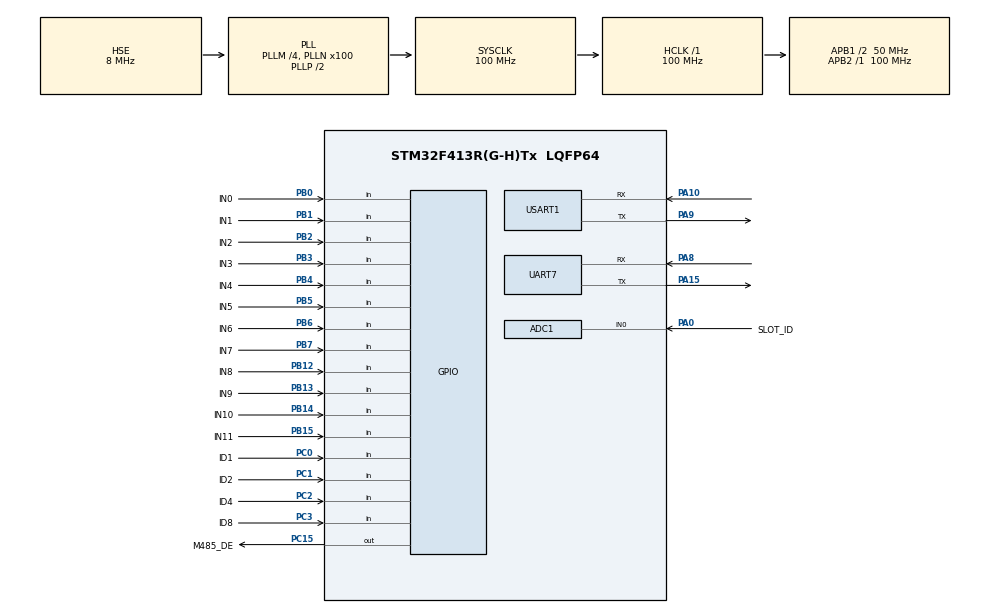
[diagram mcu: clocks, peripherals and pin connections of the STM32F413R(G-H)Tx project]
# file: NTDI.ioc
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ADC1.Channel-0\#ChannelRegularConversion=ADC_CHANNEL_0
ADC1.ClockPrescaler=ADC_CLOCK_SYNC_PCLK_DIV4
ADC1.ContinuousConvMode=DISABLE
ADC1.DMAContinuousRequests=DISABLE
ADC1.DataAlign=ADC_DATAALIGN_RIGHT
ADC1.DiscontinuousConvMode=DISABLE
ADC1.EOCSelection=ADC_EOC_SINGLE_CONV
ADC1.EnableAnalogWatchDog=false
ADC1.ExternalTrigConv=ADC_SOFTWARE_START
ADC1.ExternalTrigConvEdge=ADC_EXTERNALTRIGCONVEDGE_NONE
ADC1.InjNumberOfConversion=0
ADC1.NbrOfConversion=1
ADC1.NbrOfConversionFlag=1
ADC1.Rank-0\#ChannelRegularConversion=1
ADC1.Resolution=ADC_RESOLUTION_12B
ADC1.SamplingTime-0\#ChannelRegularConversion=ADC_SAMPLETIME_3CYCLES
ADC1.ScanConvMode=DISABLE
ADC1.master=1
FREERTOS.Tasks01=mainTask,2,256,StartMainTask,Default,NULL,Dynamic,NULL,NULL;debugTask,-1,128,StartDebugTask,Default,NULL,Dynamic,NULL,NULL;inputTask,0,128,StartInputTask,Default,NULL,Dynamic,NULL,NULL
IWDG.Prescaler=IWDG_PRESCALER_32
IWDG.Reload=1000
Mcu.Family=STM32F4
Mcu.Name=STM32F413R(G-H)Tx
Mcu.Package=LQFP64
NVIC.PriorityGroup=NVIC_PRIORITYGROUP_4
NVIC.TIM1_UP_TIM10_IRQn=true\:9\:0\:true\:false\:true\:true\:true
NVIC.TIM6_DAC_IRQn=true\:0\:0\:false\:false\:true\:false\:false
NVIC.TimeBase=TIM6_DAC_IRQn
NVIC.TimeBaseIP=TIM6
NVIC.UART7_IRQn=true\:5\:0\:false\:false\:true\:true\:true
NVIC.USART1_IRQn=true\:10\:0\:true\:false\:true\:true\:true
PA0.GPIO_Label=SLOT_ID
PA0.Signal=ADCx_IN0
PA10.Mode=Asynchronous
PA10.Signal=USART1_RX
PA13.Mode=Serial_Wire
PA13.Signal=SYS_JTMS-SWDIO
PA14.Mode=Serial_Wire
PA14.Signal=SYS_JTCK-SWCLK
PA15.Mode=Asynchronous
PA15.Signal=UART7_TX
PA8.Mode=Asynchronous
PA8.Signal=UART7_RX
PA9.Mode=Asynchronous
PA9.Signal=USART1_TX
PB0.GPIO_Label=IN0
PB0.GPIO_PuPd=GPIO_PULLUP
PB0.Signal=GPIO_Input
PB1.GPIO_Label=IN1
PB1.GPIO_PuPd=GPIO_PULLUP
PB1.Signal=GPIO_Input
PB12.GPIO_Label=IN8
PB12.GPIO_PuPd=GPIO_PULLUP
PB12.Signal=GPIO_Input
PB13.GPIO_Label=IN9
PB13.GPIO_PuPd=GPIO_PULLUP
PB13.Signal=GPIO_Input
PB14.GPIO_Label=IN10
PB14.GPIO_PuPd=GPIO_PULLUP
PB14.Signal=GPIO_Input
PB15.GPIO_Label=IN11
PB15.GPIO_PuPd=GPIO_PULLUP
PB15.Signal=GPIO_Input
PB2.GPIO_Label=IN2
PB2.GPIO_PuPd=GPIO_PULLUP
PB2.Signal=GPIO_Input
PB3.GPIO_Label=IN3
PB3.GPIO_PuPd=GPIO_PULLUP
PB3.Signal=GPIO_Input
PB4.GPIO_Label=IN4
PB4.GPIO_PuPd=GPIO_PULLUP
PB4.Signal=GPIO_Input
PB5.GPIO_Label=IN5
PB5.GPIO_PuPd=GPIO_PULLUP
PB5.Signal=GPIO_Input
PB6.GPIO_Label=IN6
PB6.GPIO_PuPd=GPIO_PULLUP
PB6.Signal=GPIO_Input
PB7.GPIO_Label=IN7
PB7.GPIO_PuPd=GPIO_PULLUP
PB7.Signal=GPIO_Input
PC0.GPIO_Label=ID1
PC0.GPIO_PuPd=GPIO_PULLUP
PC0.Signal=GPIO_Input
PC1.GPIO_Label=ID2
PC1.GPIO_PuPd=GPIO_PULLUP
PC1.Signal=GPIO_Input
PC15-OSC32_OUT.GPIO_Label=M485_DE
PC15-OSC32_OUT.Signal=GPIO_Output
PC2.GPIO_Label=ID4
PC2.GPIO_PuPd=GPIO_PULLUP
PC2.Signal=GPIO_Input
PC3.GPIO_Label=ID8
PC3.GPIO_PuPd=GPIO_PULLUP
PC3.Signal=GPIO_Input
PH0\ -\ OSC_IN.Mode=HSE-External-Oscillator
PH0\ -\ OSC_IN.Signal=RCC_OSC_IN
PH1\ -\ OSC_OUT.Mode=HSE-External-Oscillator
PH1\ -\ OSC_OUT.Signal=RCC_OSC_OUT
ProjectManager.HeapSize=0x200
ProjectManager.StackSize=0x400
ProjectManager.TargetToolchain=EWARM V8
RCC.AHBFreq_Value=100000000
RCC.APB1CLKDivider=RCC_HCLK_DIV2
RCC.APB1Freq_Value=50000000
RCC.APB1TimFreq_Value=100000000
RCC.APB2Freq_Value=100000000
RCC.APB2TimFreq_Value=100000000
RCC.CortexFreq_Value=100000000
RCC.HCLKFreq_Value=100000000
RCC.HSE_VALUE=8000000
RCC.PLLM=4
RCC.PLLN=100
RCC.PLLSourceVirtual=RCC_PLLSOURCE_HSE
RCC.SYSCLKFreq_VALUE=100000000
RCC.SYSCLKSource=RCC_SYSCLKSOURCE_PLLCLK
RCC.USBFreq_Value=100000000
RCC.VCOOutputFreq_Value=200000000
SH.ADCx_IN0.0=ADC1_IN0,IN0
TIM1.Period=1000
TIM1.Prescaler=100
UART7.VirtualMode=Asynchronous
USART1.VirtualMode=VM_ASYNC
VP_FREERTOS_VS_ENABLE.Mode=Enabled
VP_IWDG_VS_IWDG.Mode=IWDG_Activate
VP_SYS_VS_tim6.Mode=TIM6
VP_TIM1_VS_ClockSourceINT.Mode=Internal
board=custom

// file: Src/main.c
/* USER CODE BEGIN Header */
/**
  ******************************************************************************
  * @file           : main.c
  * @brief          : Main program body
  ******************************************************************************
  * This notice applies to any and all portions of this file
  * that are not between comment pairs USER CODE BEGIN and
  * USER CODE END. Other portions of this file, whether
  * inserted by the user or by software development tools
  * are owned by their respective copyright owners.
  *
  * Copyright (c) 2019 STMicroelectronics International N.V.
  * All rights reserved.
  *
  * Redistribution and use in source and binary forms, with or without
  * modification, are permitted, provided that the following conditions are met:
  *
  * 1. Redistribution of source code must retain the above copyright notice,
  *    this list of conditions and the following disclaimer.
  * 2. Redistributions in binary form must reproduce the above copyright notice,
  *    this list of conditions and the following disclaimer in the documentation
  *    and/or other materials provided with the distribution.
  * 3. Neither the name of STMicroelectronics nor the names of other
  *    contributors to this software may be used to endorse or promote products
  *    derived from this software without specific written permission.
  * 4. This software, including modifications and/or derivative works of this
  *    software, must execute solely and exclusively on microcontroller or
  *    microprocessor devices manufactured by or for STMicroelectronics.
  * 5. Redistribution and use of this software other than as permitted under
  *    this license is void and will automatically terminate your rights under
  *    this license.
  *
  * THIS SOFTWARE IS PROVIDED BY STMICROELECTRONICS AND CONTRIBUTORS "AS IS"
  * AND ANY EXPRESS, IMPLIED OR STATUTORY WARRANTIES, INCLUDING, BUT NOT
  * LIMITED TO, THE IMPLIED WARRANTIES OF MERCHANTABILITY, FITNESS FOR A
  * PARTICULAR PURPOSE AND NON-INFRINGEMENT OF THIRD PARTY INTELLECTUAL PROPERTY
  * RIGHTS ARE DISCLAIMED TO THE FULLEST EXTENT PERMITTED BY LAW. IN NO EVENT
  * SHALL STMICROELECTRONICS OR CONTRIBUTORS BE LIABLE FOR ANY DIRECT, INDIRECT,
  * INCIDENTAL, SPECIAL, EXEMPLARY, OR CONSEQUENTIAL DAMAGES (INCLUDING, BUT NOT
  * LIMITED TO, PROCUREMENT OF SUBSTITUTE GOODS OR SERVICES; LOSS OF USE, DATA,
  * OR PROFITS; OR BUSINESS INTERRUPTION) HOWEVER CAUSED AND ON ANY THEORY OF
  * LIABILITY, WHETHER IN CONTRACT, STRICT LIABILITY, OR TORT (INCLUDING
  * NEGLIGENCE OR OTHERWISE) ARISING IN ANY WAY OUT OF THE USE OF THIS SOFTWARE,
  * EVEN IF ADVISED OF THE POSSIBILITY OF SUCH DAMAGE.
  *
  ******************************************************************************
  */
/* USER CODE END Header */

#include "main.h"
#include "cmsis_os.h"
#include "adc.h"
#include "iwdg.h"
#include "tim.h"
#include "usart.h"
#include "gpio.h"

/* USER CODE BEGIN Includes */
#include <stdbool.h>

/* USER CODE END Includes */

/* USER CODE BEGIN PV */
unsigned int iwdgTick;
unsigned int tickMs = 0, sec = 0;

extern unsigned short xmitTime, mainRecvTime;

/* USER CODE END PV */

void SystemClock_Config(void);
void MX_FREERTOS_Init(void);

/* USER CODE BEGIN 0 */
#ifdef __GNUC__
	/* WIth GCC, small printf (option LD Linker->Libraries->Small printf
	   set to 'Yes') calls __io_putchar() */
	#define PUTCHAR_PROTOTYPE int __io_putchar(int ch)
#else
	#define PUTCHAR_PROTOTYPE int fputc(int ch, FILE *f)
#endif	/* __GNUC__ */

/**
  * @brief	Retargets the C libraryprintf function to the USART.
  * @param	None
  * @retal	None
  */
PUTCHAR_PROTOTYPE
{
	/* Place ypur implementations of fputc here */
	/* e.g. write a character to the USART2 and Loop until the end of transmission */
//	HAL_UART_Transmit(&huart1, (uint8_t *)&ch, 1, 0xFFFF);
	if( ch == '\n' )	HAL_UART_Transmit(&huart1, "\r\n", 2, 0xFFFF);
	else				HAL_UART_Transmit(&huart1, (uint8_t *)&ch, 1, 0xFFFF);
	return ch;
}

/* USER CODE END 0 */

int main(void)
{

	/* MCU Configuration--------------------------------------------------------*/
	/* Reset of all peripherals, Initializes the Flash interface and the Systick. */
	HAL_Init();

	/* Configure the system clock */
	SystemClock_Config();

	/* Initialize all configured peripherals */
	MX_GPIO_Init();
	MX_ADC1_Init();
	MX_IWDG_Init();
	MX_UART7_Init();
	MX_USART1_UART_Init();
	MX_TIM1_Init();

	/* USER CODE BEGIN 2 */
	HAL_TIM_Base_Start_IT(&htim1);	// time base의 타이머 인터럽트 시작
	__HAL_IWDG_START(&hiwdg);		// 워치독 시작
	iwdgTick = 0;

	/* USER CODE END 2 */

	/* Call init function for freertos objects (in freertos.c) */
	MX_FREERTOS_Init();

	/* Start scheduler */
	osKernelStart();

	/* We should never get here as control is now taken by the scheduler */

	/* Infinite loop */
	/* USER CODE BEGIN WHILE */
	while( true ) {
		/* USER CODE END WHILE */
	}
}

void SystemClock_Config(void)
{
	RCC_OscInitTypeDef RCC_OscInitStruct = {0};
	RCC_ClkInitTypeDef RCC_ClkInitStruct = {0};

	/* Configure the main internal regulator output voltage */
	__HAL_RCC_PWR_CLK_ENABLE();
	__HAL_PWR_VOLTAGESCALING_CONFIG(PWR_REGULATOR_VOLTAGE_SCALE1);

	/* Initializes the CPU, AHB and APB busses clocks */
	RCC_OscInitStruct.OscillatorType = RCC_OSCILLATORTYPE_LSI|RCC_OSCILLATORTYPE_HSE;
	RCC_OscInitStruct.HSEState = RCC_HSE_ON;
	RCC_OscInitStruct.LSIState = RCC_LSI_ON;
	RCC_OscInitStruct.PLL.PLLState = RCC_PLL_ON;
	RCC_OscInitStruct.PLL.PLLSource = RCC_PLLSOURCE_HSE;
	RCC_OscInitStruct.PLL.PLLM = 4;
	RCC_OscInitStruct.PLL.PLLN = 100;
	RCC_OscInitStruct.PLL.PLLP = RCC_PLLP_DIV2;
	RCC_OscInitStruct.PLL.PLLQ = 2;
	RCC_OscInitStruct.PLL.PLLR = 2;
	if( HAL_RCC_OscConfig(&RCC_OscInitStruct) != HAL_OK ) {
		Error_Handler();
	}

	/* Initializes the CPU, AHB and APB busses clocks */
	RCC_ClkInitStruct.ClockType = RCC_CLOCKTYPE_HCLK | RCC_CLOCKTYPE_SYSCLK | RCC_CLOCKTYPE_PCLK1 | RCC_CLOCKTYPE_PCLK2;
	RCC_ClkInitStruct.SYSCLKSource = RCC_SYSCLKSOURCE_PLLCLK;
	RCC_ClkInitStruct.AHBCLKDivider = RCC_SYSCLK_DIV1;
	RCC_ClkInitStruct.APB1CLKDivider = RCC_HCLK_DIV2;
	RCC_ClkInitStruct.APB2CLKDivider = RCC_HCLK_DIV1;

	if( HAL_RCC_ClockConfig(&RCC_ClkInitStruct, FLASH_LATENCY_3) != HAL_OK ) {
		Error_Handler();
	}
}

void HAL_TIM_PeriodElapsedCallback(TIM_HandleTypeDef *htim)
{
	/* USER CODE BEGIN Callback 0 */
	if( htim->Instance == TIM1 ) {
		if( ++tickMs == 1000 ) {
			tickMs = 0;
			sec++;
		}

		if( ++iwdgTick > 500 ) {
			__HAL_IWDG_RELOAD_COUNTER(&hiwdg);		// 워치독 재시작
			iwdgTick = 0;
		}

		xmitTime++;
		mainRecvTime = 0;
	}

	/* USER CODE END Callback 0 */

	if( htim->Instance == TIM6 ) {
		HAL_IncTick();
	}

}

void Error_Handler(void)
{
}

/************************ (C) COPYRIGHT STMicroelectronics *****END OF FILE****/

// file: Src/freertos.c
/* USER CODE BEGIN Header */
/**
  ******************************************************************************
  * File Name          : freertos.c
  * Description        : Code for freertos applications
  ******************************************************************************
  * This notice applies to any and all portions of this file
  * that are not between comment pairs USER CODE BEGIN and
  * USER CODE END. Other portions of this file, whether
  * inserted by the user or by software development tools
  * are owned by their respective copyright owners.
  *
  * Copyright (c) 2019 STMicroelectronics International N.V.
  * All rights reserved.
  *
  * Redistribution and use in source and binary forms, with or without
  * modification, are permitted, provided that the following conditions are met:
  *
  * 1. Redistribution of source code must retain the above copyright notice,
  *    this list of conditions and the following disclaimer.
  * 2. Redistributions in binary form must reproduce the above copyright notice,
  *    this list of conditions and the following disclaimer in the documentation
  *    and/or other materials provided with the distribution.
  * 3. Neither the name of STMicroelectronics nor the names of other
  *    contributors to this software may be used to endorse or promote products
  *    derived from this software without specific written permission.
  * 4. This software, including modifications and/or derivative works of this
  *    software, must execute solely and exclusively on microcontroller or
  *    microprocessor devices manufactured by or for STMicroelectronics.
  * 5. Redistribution and use of this software other than as permitted under
  *    this license is void and will automatically terminate your rights under
  *    this license.
  *
  * THIS SOFTWARE IS PROVIDED BY STMICROELECTRONICS AND CONTRIBUTORS "AS IS"
  * AND ANY EXPRESS, IMPLIED OR STATUTORY WARRANTIES, INCLUDING, BUT NOT
  * LIMITED TO, THE IMPLIED WARRANTIES OF MERCHANTABILITY, FITNESS FOR A
  * PARTICULAR PURPOSE AND NON-INFRINGEMENT OF THIRD PARTY INTELLECTUAL PROPERTY
  * RIGHTS ARE DISCLAIMED TO THE FULLEST EXTENT PERMITTED BY LAW. IN NO EVENT
  * SHALL STMICROELECTRONICS OR CONTRIBUTORS BE LIABLE FOR ANY DIRECT, INDIRECT,
  * INCIDENTAL, SPECIAL, EXEMPLARY, OR CONSEQUENTIAL DAMAGES (INCLUDING, BUT NOT
  * LIMITED TO, PROCUREMENT OF SUBSTITUTE GOODS OR SERVICES; LOSS OF USE, DATA,
  * OR PROFITS; OR BUSINESS INTERRUPTION) HOWEVER CAUSED AND ON ANY THEORY OF
  * LIABILITY, WHETHER IN CONTRACT, STRICT LIABILITY, OR TORT (INCLUDING
  * NEGLIGENCE OR OTHERWISE) ARISING IN ANY WAY OUT OF THE USE OF THIS SOFTWARE,
  * EVEN IF ADVISED OF THE POSSIBILITY OF SUCH DAMAGE.
  *
  ******************************************************************************
  */
/* USER CODE END Header */

#include "FreeRTOS.h"
#include "task.h"
#include "main.h"
#include "cmsis_os.h"

/* USER CODE BEGIN Includes */
#include <stdbool.h>
#include <string.h>

#include "board.h"
#include "etc.h"
#include "nt_queue.h"
#include "usart.h"

/* USER CODE END Includes */

/* USER CODE BEGIN PD */
enum {
	XMIT_MODE = 1,
	RECEIVE_MODE,
	NEXT_MODE
};

/* USER CODE END PD */

/* USER CODE BEGIN Variables */
unsigned short xmitTime = 0, mainRecvTime = 0;

extern BoardInfo myInfo;
extern Queue mainReceiveQueue;
extern unsigned char mainReceiveBuffer[2];

extern unsigned char slotID;
extern unsigned char replyInfoData[86];
extern unsigned char replyDetailedData[99];
extern unsigned char replyData[16];
extern unsigned char portData[12][8];
extern short replyInfoLength, replyDetailedLength;

/* USER CODE END Variables */

osThreadId mainTaskHandle;
osThreadId debugTaskHandle;
osThreadId inputTaskHandle;

void StartMainTask(void const * argument);
void StartDebugTask(void const * argument);
void StartInputTask(void const * argument);

void MX_FREERTOS_Init(void); /* (MISRA C 2004 rule 8.1) */

void MX_FREERTOS_Init(void)
{
	/* USER CODE BEGIN Init */
	HAL_Delay(500);
	ReadBoardID();
	InitializeBoardInfo();
	InitializeData();

	/* USER CODE END Init */

	/* Create the thread(s) */
	/* definition and creation of mainTask */
//	osThreadDef(mainTask, StartMainTask, osPriorityHigh, 0, 512);
//	mainTaskHandle = osThreadCreate(osThread(mainTask), NULL);

	/* definition and creation of debugTask */
	osThreadDef(debugTask, StartDebugTask, osPriorityBelowNormal, 0, 256);
	debugTaskHandle = osThreadCreate(osThread(debugTask), NULL);

	/* definition and creation of inputTask */
	osThreadDef(inputTask, StartInputTask, osPriorityNormal, 0, 256);
	inputTaskHandle = osThreadCreate(osThread(inputTask), NULL);

}

void StartMainTask(void const * argument)
{
	/* USER CODE BEGIN StartMainTask */
	char parsingFlag = 0, headerCheck;
	unsigned char rcvData[100], parsingData[100], compareData[4];
	unsigned int rcvCount = 0, rcvLength;

	InitQueue(&mainReceiveQueue);
	HAL_UART_Receive_IT(&huart7, &mainReceiveBuffer[0], 1);

	headerCheck = NOT_OK;

	sprintf((char *)&compareData, "M%cT", slotID + 0x30);
	rcvCount = 0;

	/* Infinite loop */
	while( true) {
		if( !IsEmpty(&mainReceiveQueue) ) {
			rcvData[rcvCount++] = Dequeue(&mainReceiveQueue);

			if( headerCheck == NOT_OK ) {
				if( rcvCount == 3 ) {
					rcvData[rcvCount] = 0;
					if( memcmp(&rcvData[0], &compareData[0], 3) == 0 ) {
						headerCheck = OK;
					}
					else {
						rcvData[0] = rcvData[1];
						rcvData[1] = rcvData[2];
						rcvCount = 2;
					}
				}
			}
			else {
				if( rcvCount <= 6 ) {
					if( rcvCount == 6 )	rcvLength = (rcvData[4] << 8) | rcvData[5];
				}
				else {
					if( rcvCount == (rcvLength + 6) ) {
						memcpy(&parsingData[0], &rcvData[0], rcvLength + 6);
						parsingFlag = 1;
						headerCheck = NOT_OK;
					}
				}
			}
		}

		if( parsingFlag ) {
			switch( parsingData[3] ) {
				case REQUEST_INFO :
					TransmissionInfoDataToMain();
					HAL_UART_Transmit(&huart7, &replyInfoData[0], replyInfoLength, 1000);
					break;

				case REQUEST_DATA :
					TransmissionDetailedDataToMain();
					HAL_UART_Transmit(&huart7, &replyDetailedData[0], replyDetailedLength, 1000);
					break;

				case SET_INFO :
					SetBoardData(parsingData);
					replyData[3] = SET_INFO;
					HAL_UART_Transmit(&huart7, &replyData[0], 15, 1000);
					break;

				case CONTROL_DATA :
					replyData[3] = CONTROL_DATA;
					HAL_UART_Transmit(&huart7, &replyData[0], 15, 1000);
					break;

				case DOWNLOAD_READY :
					break;

				case DOWNLOAD_START :
					break;

				case DOWNLOAD_STOP :
					break;
			}
			rcvCount = 0;
			parsingFlag = 0;
		}

		osDelay(1);
	}
	/* USER CODE END StartMainTask */
}

void StartDebugTask(void const * argument)
{
	/* USER CODE BEGIN StartDebugTask */
	/* definition and creation of mainTask */
	osThreadDef(mainTask, StartMainTask, osPriorityHigh, 0, 512);
	mainTaskHandle = osThreadCreate(osThread(mainTask), NULL);

	/* Infinite loop */
	while( true ) {
		if( mainRecvTime >= 10000 ) {
			osThreadTerminate(mainTaskHandle);
			HAL_Delay(100);
			mainTaskHandle = osThreadCreate(osThread(mainTask), NULL);
			mainRecvTime = 0;
		}

		osDelay(1);
	}
	/* USER CODE END StartDebugTask */
}

void StartInputTask(void const * argument)
{
	/* USER CODE BEGIN StartInputTask */
	/* Infinite loop */
	while( true ) {
		portData[0][6] = HAL_GPIO_ReadPin(IN0_GPIO_Port, IN0_Pin);
		portData[1][6] = HAL_GPIO_ReadPin(IN1_GPIO_Port, IN1_Pin);
		portData[2][6] = HAL_GPIO_ReadPin(IN2_GPIO_Port, IN2_Pin);
		portData[3][6] = HAL_GPIO_ReadPin(IN3_GPIO_Port, IN3_Pin);
		portData[4][6] = HAL_GPIO_ReadPin(IN4_GPIO_Port, IN4_Pin);
		portData[5][6] = HAL_GPIO_ReadPin(IN5_GPIO_Port, IN5_Pin);
		portData[6][6] = HAL_GPIO_ReadPin(IN6_GPIO_Port, IN6_Pin);
		portData[7][6] = HAL_GPIO_ReadPin(IN7_GPIO_Port, IN7_Pin);
		portData[8][6] = HAL_GPIO_ReadPin(IN8_GPIO_Port, IN8_Pin);
		portData[9][6] = HAL_GPIO_ReadPin(IN9_GPIO_Port, IN9_Pin);
		portData[10][6] = HAL_GPIO_ReadPin(IN10_GPIO_Port, IN10_Pin);
		portData[11][6] = HAL_GPIO_ReadPin(IN11_GPIO_Port, IN11_Pin);

		osDelay(1);
	}
	/* USER CODE END StartInputTask */
}

/************************ (C) COPYRIGHT STMicroelectronics *****END OF FILE****/
